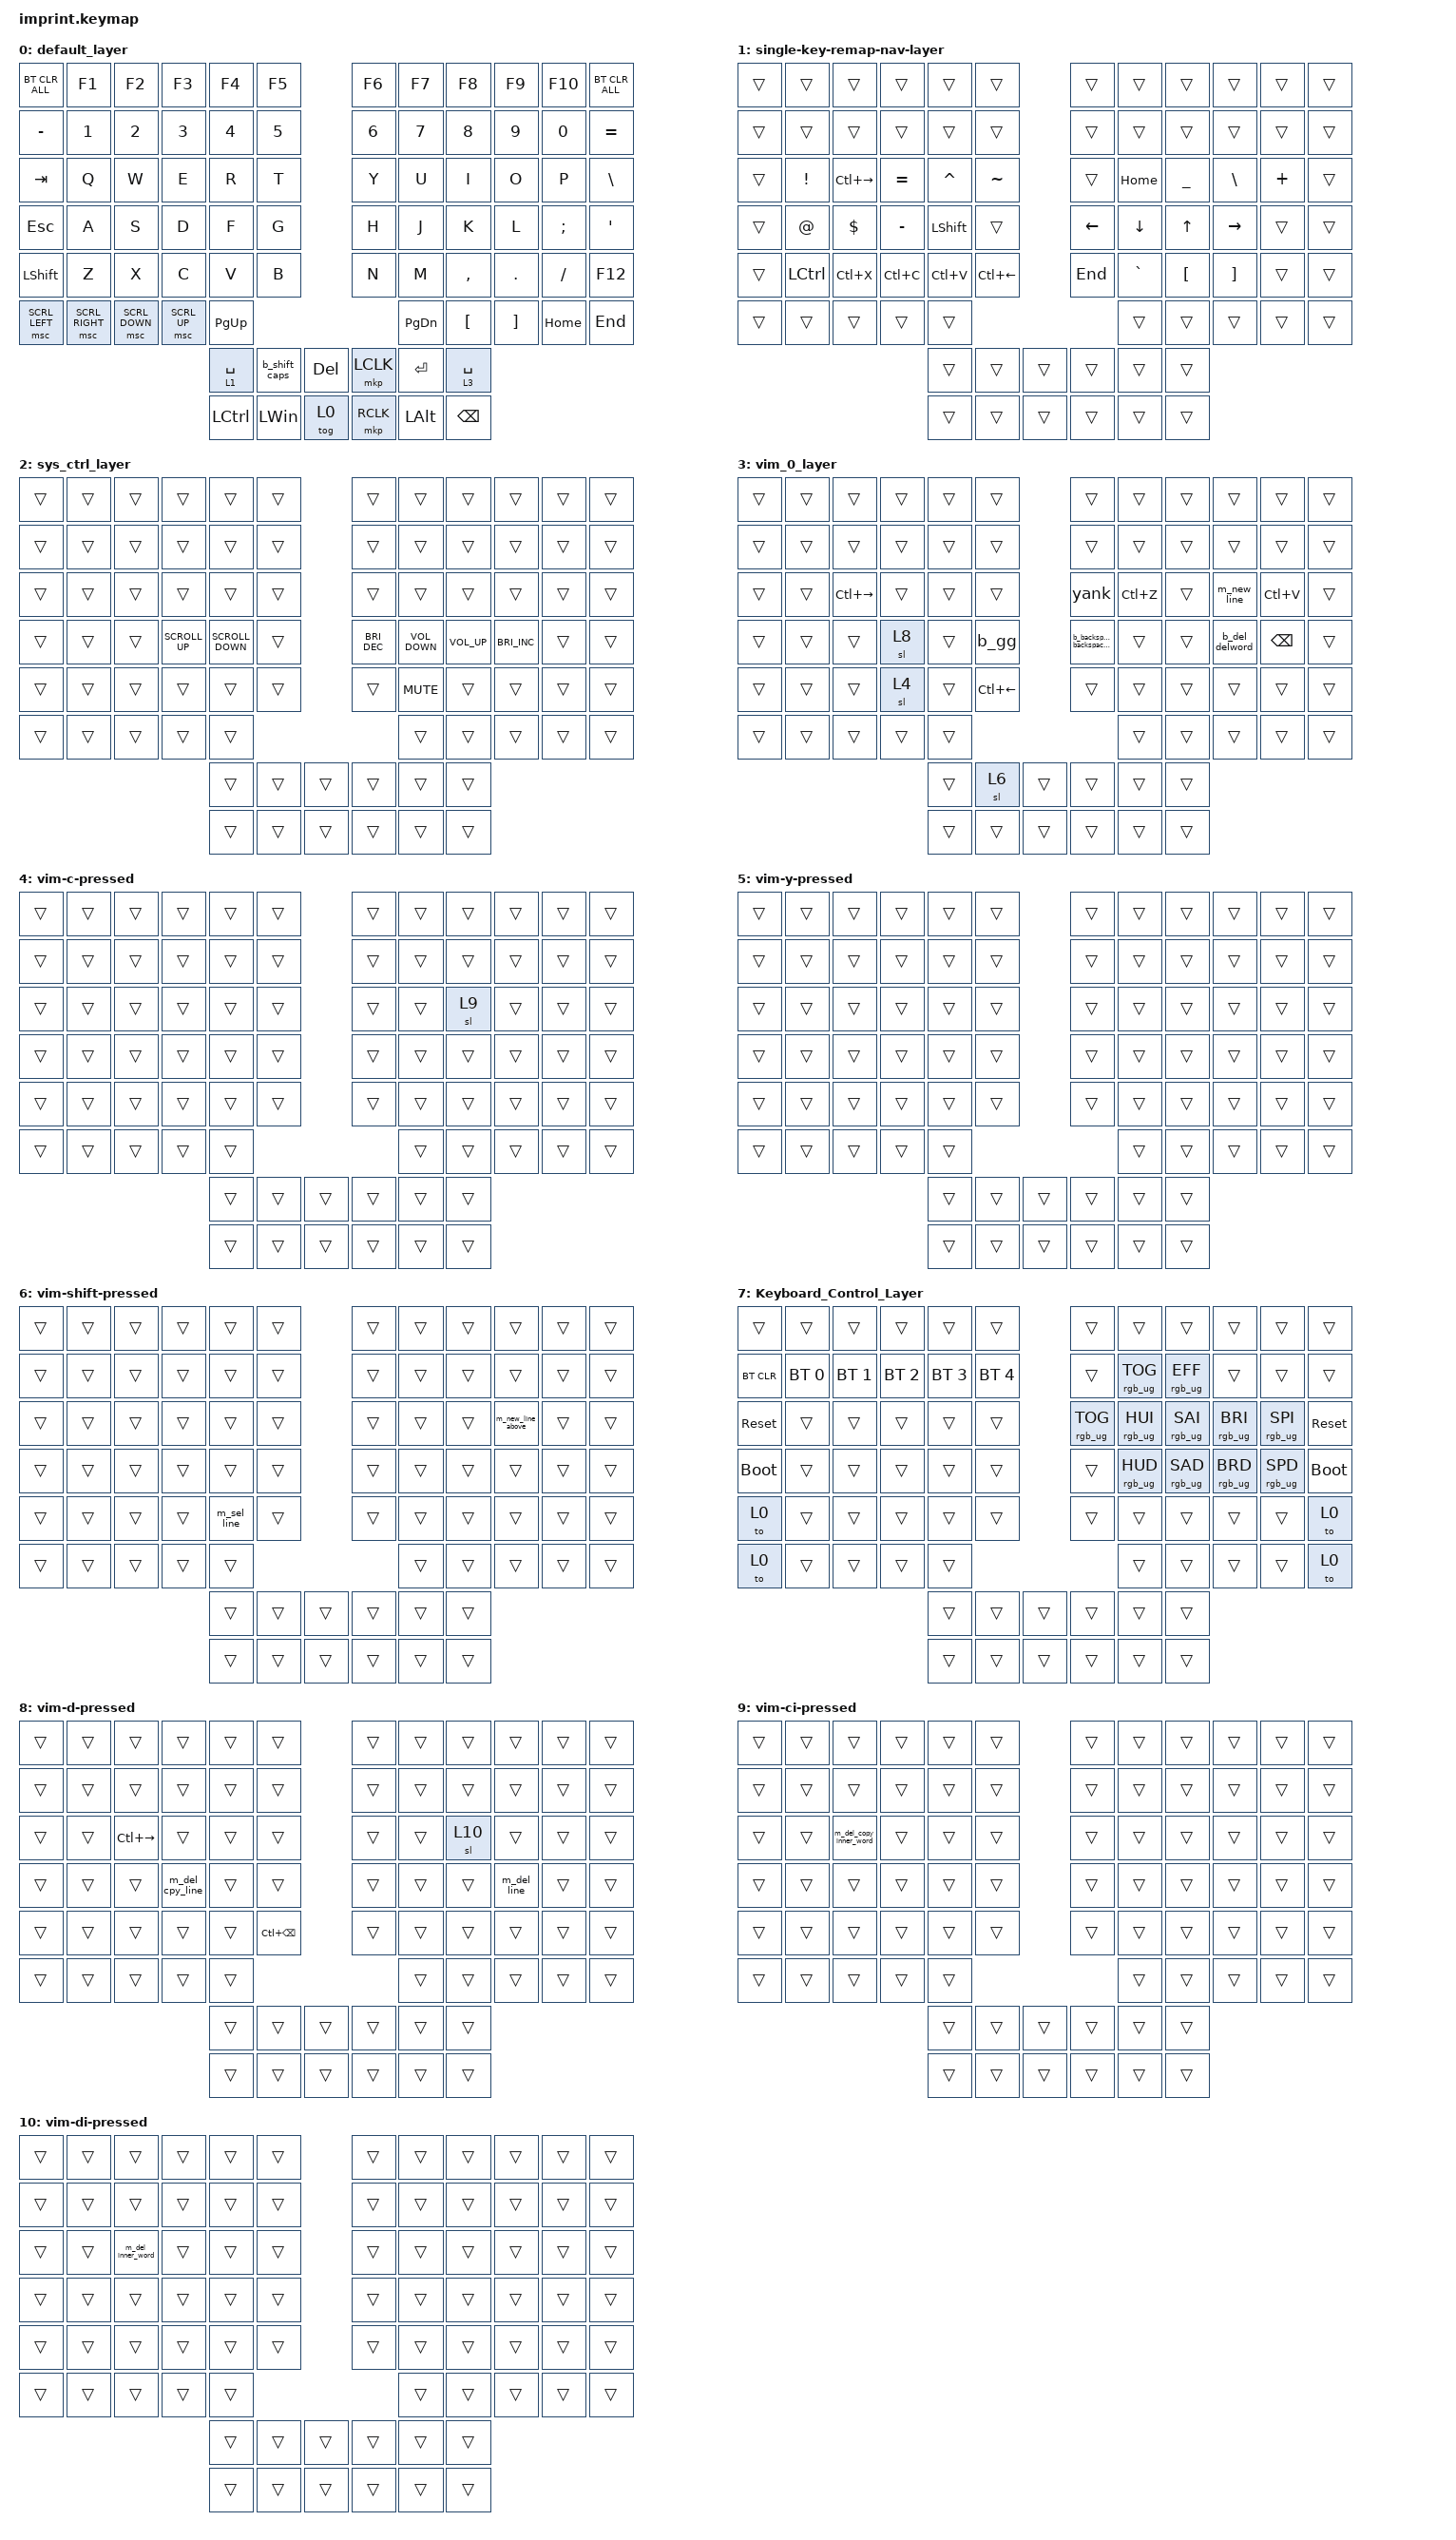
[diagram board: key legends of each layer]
#include <input/processors.dtsi>
#include <dt-bindings/zmk/input_transform.h>
#include <behaviors.dtsi>
#include <dt-bindings/zmk/bt.h>
#include <dt-bindings/zmk/keys.h>
#include <dt-bindings/zmk/pointing.h>
#include <dt-bindings/zmk/rgb.h>

&lt { flavor = "hold-preferred"; };

/ {
    chosen { zmk,matrix-transform = &imprint_function_row_full_bottom_row; };

    macros {
        m_cpy_line: copy_line {
            compatible = "zmk,behavior-macro";
            #binding-cells = <0>;
            bindings =
                <&kp HOME>,
                <&macro_press>,
                <&kp LEFT_SHIFT>,
                <&macro_tap>,
                <&kp END>,
                <&macro_release>,
                <&kp LEFT_SHIFT>,
                <&macro_tap>,
                <&kp LC(C) &kp END>;

            label = "COPY_LINE";
        };

        m_del_line: m_delete_line {
            compatible = "zmk,behavior-macro";
            #binding-cells = <0>;
            bindings =
                <&kp HOME>,
                <&macro_press>,
                <&kp LEFT_SHIFT>,
                <&macro_tap>,
                <&kp END>,
                <&macro_release>,
                <&kp LEFT_SHIFT>,
                <&macro_tap>,
                <&kp DELETE>;

            label = "M_DELETE_LINE";
        };

        m_chg_inner_word: m_del_word {
            compatible = "zmk,behavior-macro";
            #binding-cells = <0>;
            bindings =
                <&kp LC(LEFT)>,
                <&macro_press>,
                <&kp LEFT_SHIFT>,
                <&macro_tap>,
                <&kp LC(RIGHT_ARROW)>,
                <&macro_release>,
                <&kp LEFT_SHIFT>,
                <&macro_tap>,
                <&kp DELETE>;

            label = "M_DEL_WORD";
        };

        m_sel_inner_word: m_select_word {
            compatible = "zmk,behavior-macro";
            #binding-cells = <0>;
            bindings =
                <&kp LC(LEFT)>,
                <&macro_press>,
                <&kp LEFT_SHIFT>,
                <&macro_tap>,
                <&kp LC(RIGHT_ARROW)>,
                <&macro_release>,
                <&kp LEFT_SHIFT>,
                <&macro_tap>;

            label = "M_SELECT_WORD";
        };

        m_sel_line: m_select_line {
            compatible = "zmk,behavior-macro";
            #binding-cells = <0>;
            bindings =
                <&kp HOME>,
                <&macro_press>,
                <&kp LEFT_SHIFT>,
                <&macro_tap>,
                <&kp END>,
                <&macro_release>,
                <&kp LEFT_SHIFT>,
                <&macro_tap>;

            label = "M_SELECT_LINE";
        };

        m_del_copy_inner_word: m_del_copy_inner_word {
            compatible = "zmk,behavior-macro";
            #binding-cells = <0>;
            bindings =
                <&kp LC(LEFT)>,
                <&macro_press>,
                <&kp LEFT_SHIFT>,
                <&macro_tap>,
                <&kp LC(RIGHT_ARROW)>,
                <&macro_release>,
                <&kp LEFT_SHIFT>,
                <&macro_tap>,
                <&kp LC(X)>;

            label = "M_DEL_COPY_INNER_WORD";
        };

        m_del_cpy_line: m_del_cpy_line {
            compatible = "zmk,behavior-macro";
            #binding-cells = <0>;
            bindings =
                <&kp HOME>,
                <&macro_press>,
                <&kp LEFT_SHIFT>,
                <&macro_tap>,
                <&kp END>,
                <&macro_release>,
                <&kp LEFT_SHIFT>,
                <&macro_tap>,
                <&kp LC(X)>;

            label = "M_DEL_CPY_LINE";
        };

        m_del_inner_word: m_del_inner_word {
            compatible = "zmk,behavior-macro";
            #binding-cells = <0>;
            bindings =
                <&kp LC(LEFT)>,
                <&macro_press>,
                <&kp LEFT_SHIFT>,
                <&macro_tap>,
                <&kp LC(RIGHT_ARROW)>,
                <&macro_release>,
                <&kp LEFT_SHIFT>,
                <&macro_tap>,
                <&kp DELETE>;

            label = "M_DEL_INNER_WORD";
        };

        m_cpy_inner_word: m_cpy_inner_word {
            compatible = "zmk,behavior-macro";
            #binding-cells = <0>;
            bindings =
                <&kp LC(LEFT)>,
                <&macro_press>,
                <&kp LEFT_SHIFT>,
                <&macro_tap>,
                <&kp LC(RIGHT_ARROW)>,
                <&macro_release>,
                <&kp LEFT_SHIFT>,
                <&macro_tap>,
                <&kp LC(C)>;

            label = "M_CPY_INNER_WORD";
        };

        m_new_line: new_line {
            compatible = "zmk,behavior-macro";
            #binding-cells = <0>;
            bindings = <&kp END &kp ENTER>;
            label = "NEW_LINE";
        };

        m_new_line_above: m_new_line_above {
            compatible = "zmk,behavior-macro";
            #binding-cells = <0>;
            bindings = <&kp HOME &kp ENTER &kp UP_ARROW>;
            label = "M_NEW_LINE_ABOVE";
        };
    };

    behaviors {
        yank: yank {
            compatible = "zmk,behavior-tap-dance";
            label = "YANK";
            #binding-cells = <0>;
            bindings = <&kp LC(C)>, <&m_cpy_line>;
        };

        b_gg: b_gg {
            compatible = "zmk,behavior-tap-dance";
            label = "B_GG";
            #binding-cells = <0>;
            bindings = <&none>, <&kp LC(HOME)>;
        };

        b_shift_caps: b_shift_caps {
            compatible = "zmk,behavior-tap-dance";
            label = "B_SHIFT_CAPS";
            #binding-cells = <0>;
            bindings = <&kp LEFT_SHIFT>, <&kp CAPSLOCK>;
        };

        b_del_delword: b_del_delword {
            compatible = "zmk,behavior-tap-dance";
            label = "B_DEL_DELWORD";
            #binding-cells = <0>;
            bindings = <&kp DELETE>, <&kp LC(DELETE)>;

            tapping-term-ms = <100>;
        };

        b_backspace_backspace_word: b_backspace_backspace_word {
            compatible = "zmk,behavior-tap-dance";
            label = "B_BACKSPACE_BACKSPACE_WORD";
            #binding-cells = <0>;
            bindings = <&kp BACKSPACE>, <&kp LC(BACKSPACE)>;

            tapping-term-ms = <100>;
        };
    };

    combos {
        compatible = "zmk,combos";

        c_dw {
            bindings = <&kp LC(DELETE)>;
            key-positions = <39 26>;
            timeout-ms = <2000>;
        };

        c_db {
            bindings = <&kp LC(BACKSPACE)>;
            key-positions = <39 53>;
            timeout-ms = <2000>;
            require-prior-idle-ms = <0>;
        };

        c_ciw {
            bindings = <&m_del_copy_inner_word>;
            key-positions = <51 32 26>;
            timeout-ms = <1000>;
        };

        c_viw {
            bindings = <&m_sel_inner_word>;
            key-positions = <32 26 52>;
            timeout-ms = <1000>;
        };

        c_diw {
            bindings = <&m_del_inner_word>;
            key-positions = <32 39 26>;
            timeout-ms = <1000>;
        };

        m_yiw {
            bindings = <&m_del_inner_word>;
            key-positions = <32 26 30>;
        };

        c_shift_v {
            bindings = <&m_sel_line>;
            key-positions = <71 52>;
        };

        c_shift_g {
            bindings = <&kp END>;
            key-positions = <71 41>;
        };

        c_ctrl_u {
            bindings = <&kp PAGE_UP>;
            key-positions = <31 76>;
        };

        c_ctrl_d {
            bindings = <&kp PAGE_DOWN>;
            key-positions = <76 39>;
        };
    };

    keymap {
        compatible = "zmk,keymap";

        default_layer {
            bindings = <
&bt BT_CLR_ALL  &kp F1           &kp F2          &kp F3        &kp F4            &kp F5                       &kp F6     &kp F7         &kp F8         &kp F9    &kp F10   &bt BT_CLR_ALL
&kp MINUS       &kp N1           &kp N2          &kp N3        &kp N4            &kp N5                       &kp N6     &kp N7         &kp N8         &kp N9    &kp N0    &kp EQUAL
&kp TAB         &kp Q            &kp W           &kp E         &kp R             &kp T                        &kp Y      &kp U          &kp I          &kp O     &kp P     &kp BSLH
&kp ESC         &kp A            &kp S           &kp D         &kp F             &kp G                        &kp H      &kp J          &kp K          &kp L     &kp SEMI  &kp SQT
&kp LEFT_SHIFT  &kp Z            &kp X           &kp C         &kp V             &kp B                        &kp N      &kp M          &kp COMMA      &kp DOT   &kp FSLH  &kp F12
&msc SCRL_LEFT  &msc SCRL_RIGHT  &msc SCRL_DOWN  &msc SCRL_UP  &kp PAGE_UP                                               &kp PAGE_DOWN  &kp LBKT       &kp RBKT  &kp HOME  &kp END
                                                               &lt 1 SPACE       &b_shift_caps  &kp DELETE    &mkp LCLK  &kp ENTER      &lt 3 SPACE
                                                               &kp LEFT_CONTROL  &kp LEFT_WIN   &tog 0        &mkp RCLK  &kp LEFT_ALT   &kp BACKSPACE
            >;
        };

        single-key-remap-nav-layer {
            bindings = <
&trans  &trans            &trans         &trans     &trans          &trans                  &trans    &trans     &trans          &trans         &trans    &trans
&trans  &trans            &trans         &trans     &trans          &trans                  &trans    &trans     &trans          &trans         &trans    &trans
&trans  &kp EXCLAMATION   &kp LC(RIGHT)  &kp EQUAL  &kp CARET       &kp TILDE               &trans    &kp HOME   &kp UNDERSCORE  &kp BACKSLASH  &kp PLUS  &trans
&trans  &kp AT            &kp DOLLAR     &kp MINUS  &kp LEFT_SHIFT  &trans                  &kp LEFT  &kp DOWN   &kp UP_ARROW    &kp RIGHT      &trans    &trans
&trans  &kp LEFT_CONTROL  &kp LC(X)      &kp LC(C)  &kp LC(V)       &kp LC(LEFT)            &kp END   &kp GRAVE  &kp LBKT        &kp RBKT       &trans    &trans
&trans  &trans            &trans         &trans     &trans                                            &trans     &trans          &trans         &trans    &trans
                                                    &trans          &trans        &trans    &trans    &trans     &trans
                                                    &trans          &trans        &trans    &trans    &trans     &trans
            >;
        };

        sys_ctrl_layer {
            bindings = <
&trans  &trans  &trans  &trans           &trans             &trans            &trans                &trans             &trans           &trans                &trans  &trans
&trans  &trans  &trans  &trans           &trans             &trans            &trans                &trans             &trans           &trans                &trans  &trans
&trans  &trans  &trans  &trans           &trans             &trans            &trans                &trans             &trans           &trans                &trans  &trans
&trans  &trans  &trans  &kp K_SCROLL_UP  &kp K_SCROLL_DOWN  &trans            &kp C_BRIGHTNESS_DEC  &kp C_VOLUME_DOWN  &kp C_VOLUME_UP  &kp C_BRIGHTNESS_INC  &trans  &trans
&trans  &trans  &trans  &trans           &trans             &trans            &trans                &kp K_MUTE         &trans           &trans                &trans  &trans
&trans  &trans  &trans  &trans           &trans                                                     &trans             &trans           &trans                &trans  &trans
                                         &trans             &trans  &trans    &trans                &trans             &trans
                                         &trans             &trans  &trans    &trans                &trans             &trans
            >;
        };

        vim_0_layer {
            bindings = <
&trans  &trans  &trans               &trans  &trans  &trans                  &trans                       &trans     &trans  &trans          &trans         &trans
&trans  &trans  &trans               &trans  &trans  &trans                  &trans                       &trans     &trans  &trans          &trans         &trans
&trans  &trans  &kp LC(RIGHT_ARROW)  &trans  &trans  &trans                  &yank                        &kp LC(Z)  &trans  &m_new_line     &kp LC(V)      &trans
&trans  &trans  &trans               &sl 8   &trans  &b_gg                   &b_backspace_backspace_word  &trans     &trans  &b_del_delword  &kp BACKSPACE  &trans
&trans  &trans  &trans               &sl 4   &trans  &kp LC(LEFT)            &trans                       &trans     &trans  &trans          &trans         &trans
&trans  &trans  &trans               &trans  &trans                                                       &trans     &trans  &trans          &trans         &trans
                                             &trans  &sl 6         &trans    &trans                       &trans     &trans
                                             &trans  &trans        &trans    &trans                       &trans     &trans
            >;
        };

        vim-c-pressed {
            bindings = <
&trans  &trans  &trans  &trans  &trans  &trans            &trans  &trans  &trans  &trans  &trans  &trans
&trans  &trans  &trans  &trans  &trans  &trans            &trans  &trans  &trans  &trans  &trans  &trans
&trans  &trans  &trans  &trans  &trans  &trans            &trans  &trans  &sl 9   &trans  &trans  &trans
&trans  &trans  &trans  &trans  &trans  &trans            &trans  &trans  &trans  &trans  &trans  &trans
&trans  &trans  &trans  &trans  &trans  &trans            &trans  &trans  &trans  &trans  &trans  &trans
&trans  &trans  &trans  &trans  &trans                            &trans  &trans  &trans  &trans  &trans
                                &trans  &trans  &trans    &trans  &trans  &trans
                                &trans  &trans  &trans    &trans  &trans  &trans
            >;
        };

        vim-y-pressed {
            bindings = <
&trans  &trans  &trans  &trans  &trans  &trans            &trans  &trans  &trans  &trans  &trans  &trans
&trans  &trans  &trans  &trans  &trans  &trans            &trans  &trans  &trans  &trans  &trans  &trans
&trans  &trans  &trans  &trans  &trans  &trans            &trans  &trans  &trans  &trans  &trans  &trans
&trans  &trans  &trans  &trans  &trans  &trans            &trans  &trans  &trans  &trans  &trans  &trans
&trans  &trans  &trans  &trans  &trans  &trans            &trans  &trans  &trans  &trans  &trans  &trans
&trans  &trans  &trans  &trans  &trans                            &trans  &trans  &trans  &trans  &trans
                                &trans  &trans  &trans    &trans  &trans  &trans
                                &trans  &trans  &trans    &trans  &trans  &trans
            >;
        };

        vim-shift-pressed {
            bindings = <
&trans  &trans  &trans  &trans  &trans       &trans            &trans  &trans  &trans  &trans             &trans  &trans
&trans  &trans  &trans  &trans  &trans       &trans            &trans  &trans  &trans  &trans             &trans  &trans
&trans  &trans  &trans  &trans  &trans       &trans            &trans  &trans  &trans  &m_new_line_above  &trans  &trans
&trans  &trans  &trans  &trans  &trans       &trans            &trans  &trans  &trans  &trans             &trans  &trans
&trans  &trans  &trans  &trans  &m_sel_line  &trans            &trans  &trans  &trans  &trans             &trans  &trans
&trans  &trans  &trans  &trans  &trans                                 &trans  &trans  &trans             &trans  &trans
                                &trans       &trans  &trans    &trans  &trans  &trans
                                &trans       &trans  &trans    &trans  &trans  &trans
            >;
        };

        Keyboard_Control_Layer {
            bindings = <
&trans       &trans        &trans        &trans        &trans        &trans                  &trans           &trans           &trans           &trans           &trans           &trans
&bt BT_CLR   &bt BT_SEL 0  &bt BT_SEL 1  &bt BT_SEL 2  &bt BT_SEL 3  &bt BT_SEL 4            &trans           &rgb_ug RGB_TOG  &rgb_ug RGB_EFF  &trans           &trans           &trans
&sys_reset   &trans        &trans        &trans        &trans        &trans                  &rgb_ug RGB_TOG  &rgb_ug RGB_HUI  &rgb_ug RGB_SAI  &rgb_ug RGB_BRI  &rgb_ug RGB_SPI  &sys_reset
&bootloader  &trans        &trans        &trans        &trans        &trans                  &trans           &rgb_ug RGB_HUD  &rgb_ug RGB_SAD  &rgb_ug RGB_BRD  &rgb_ug RGB_SPD  &bootloader
&to 0        &trans        &trans        &trans        &trans        &trans                  &trans           &trans           &trans           &trans           &trans           &to 0
&to 0        &trans        &trans        &trans        &trans                                                 &trans           &trans           &trans           &trans           &to 0
                                                       &trans        &trans        &trans    &trans           &trans           &trans
                                                       &trans        &trans        &trans    &trans           &trans           &trans
            >;
        };

        vim-d-pressed {
            bindings = <
&trans  &trans  &trans         &trans           &trans  &trans                       &trans  &trans  &trans  &trans       &trans  &trans
&trans  &trans  &trans         &trans           &trans  &trans                       &trans  &trans  &trans  &trans       &trans  &trans
&trans  &trans  &kp LC(RIGHT)  &trans           &trans  &trans                       &trans  &trans  &sl 10  &trans       &trans  &trans
&trans  &trans  &trans         &m_del_cpy_line  &trans  &trans                       &trans  &trans  &trans  &m_del_line  &trans  &trans
&trans  &trans  &trans         &trans           &trans  &kp LC(BACKSPACE)            &trans  &trans  &trans  &trans       &trans  &trans
&trans  &trans  &trans         &trans           &trans                                       &trans  &trans  &trans       &trans  &trans
                                                &trans  &trans             &trans    &trans  &trans  &trans
                                                &trans  &trans             &trans    &trans  &trans  &trans
            >;
        };

        vim-ci-pressed {
            bindings = <
&trans  &trans  &trans                  &trans  &trans  &trans            &trans  &trans  &trans  &trans  &trans  &trans
&trans  &trans  &trans                  &trans  &trans  &trans            &trans  &trans  &trans  &trans  &trans  &trans
&trans  &trans  &m_del_copy_inner_word  &trans  &trans  &trans            &trans  &trans  &trans  &trans  &trans  &trans
&trans  &trans  &trans                  &trans  &trans  &trans            &trans  &trans  &trans  &trans  &trans  &trans
&trans  &trans  &trans                  &trans  &trans  &trans            &trans  &trans  &trans  &trans  &trans  &trans
&trans  &trans  &trans                  &trans  &trans                            &trans  &trans  &trans  &trans  &trans
                                                &trans  &trans  &trans    &trans  &trans  &trans
                                                &trans  &trans  &trans    &trans  &trans  &trans
            >;
        };

        vim-di-pressed {
            bindings = <
&trans  &trans  &trans             &trans  &trans  &trans            &trans  &trans  &trans  &trans  &trans  &trans
&trans  &trans  &trans             &trans  &trans  &trans            &trans  &trans  &trans  &trans  &trans  &trans
&trans  &trans  &m_del_inner_word  &trans  &trans  &trans            &trans  &trans  &trans  &trans  &trans  &trans
&trans  &trans  &trans             &trans  &trans  &trans            &trans  &trans  &trans  &trans  &trans  &trans
&trans  &trans  &trans             &trans  &trans  &trans            &trans  &trans  &trans  &trans  &trans  &trans
&trans  &trans  &trans             &trans  &trans                            &trans  &trans  &trans  &trans  &trans
                                           &trans  &trans  &trans    &trans  &trans  &trans
                                           &trans  &trans  &trans    &trans  &trans  &trans
            >;
        };
    };
};

// right hand trackball configuration
// &trackball_peripheral_listener {
//    input-processors =
//     activate layer 3 within 500ms of the trackball moving
//     <&zip_temp_layer 3 500>;
// };
//left hand trackball configuration

&trackball_central_listener {
    input-processors =
        // multiply sensitivity by 1, divide by 3 (make it slower for scrolling),,,,,,,,,,,,,,,,,,,,,,,,,,,,,,,,,,,,,,,,,,,,,,,,,,,,,,,,,,,,,,,,,,
        <&zip_xy_scaler 1 3>,
        // make this trackball output scrolling events by default instead of cursor movement,,,,,,,,,,,,,,,,,,,,,,,,,,,,,,,,,,,,,,,,,,,,,,,,,,,,,,,,,,,,,,,,,,
        <&zip_xy_to_scroll_mapper>,
        // invert vertical scrolling so that the view moves in the same direction as the top of the trackball.,,,,,,,,,,,,,,,,,,,,,,,,,,,,,,,,,,,,,,,,,,,,,,,,,,,,,,,,,,,,,,,,,,
        <&zip_scroll_transform INPUT_TRANSFORM_Y_INVERT>;
};
